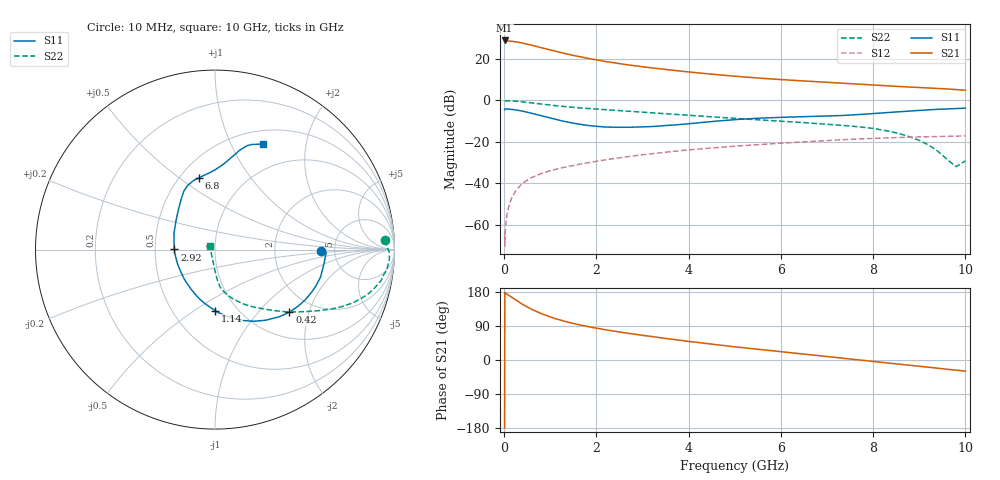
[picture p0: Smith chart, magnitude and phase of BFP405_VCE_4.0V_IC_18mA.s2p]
! Infineon Technologies  Discrete & RF Semiconductors
! BFP405
! VCE =  4.0 V,  IC =  18 mA
! Common Emitter S-Parameters:  Jan 2016
# GHz  S  MA  R  50
!  f  S11  S21  S12  S22
! GHz  MAG  ANG  MAG  ANG  MAG  ANG  MAG  ANG
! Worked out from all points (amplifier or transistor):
!   233 points, 10 MHz to 10 GHz, reference 50 ohm
!   highest |S21| = 28.9 dB at 10 MHz (marker M1)
!   |S21| within 3 dB of that: start of sweep to 721.8 MHz
!   unconditionally stable (mu >= 1): start of sweep to 30.3 MHz; 2.079 GHz to end of sweep
!   at 200 MHz: K = 0.27, MSG = 37.0 dB, |S12| = -45.7 dB
!   at 1.74 GHz: K = 0.92, MSG = 25.5 dB, |S12| = -30.5 dB
!   at 10 GHz: K = 1.34, MAG = 7.6 dB, |S12| = -17.2 dB
!   S11 on the Smith chart (normalised r, x): 10 MHz: 3.91, -0.06; 420 MHz: 1.53, -1.50; 1.14 GHz: 0.79, -0.61; 2.92 GHz: 0.63, +0.00; 6.8 GHz: 0.62, +0.60; 10 GHz: 0.66, +1.33
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0.01  0.593 -0.5  27.84 -178.9  0.0006 -30.4  0.9477 3.2
0.015  0.6063 -1.0  27.66 178.9  0.0003 29.9  0.9529 2.0
0.02  0.6197 -1.4  27.51 176.7  0.0006 90.3  0.9586 0.8
0.05  0.6159 -4.5  27.05 175.1  0.0014 79.6  0.9707 -0.7
0.1  0.6105 -9.6  26.98 170.6  0.0027 80.2  0.9731 -3.1
0.19  0.5993 -18.7  26.34 163.3  0.005 78.7  0.9622 -6.7
0.28  0.5791 -27.3  25.56 156.0  0.0071 76.9  0.9439 -9.8
0.42  0.5409 -39.9  23.84 145.4  0.0102 73.5  0.9095 -14.1
0.5  0.5172 -46.4  22.79 139.9  0.0118 71.6  0.8875 -16.2
0.58  0.4903 -52.6  21.62 134.8  0.0133 70.0  0.8654 -17.9
0.7  0.454 -61.6  20.01 127.9  0.0153 68.1  0.833 -20.4
0.9  0.3977 -75.0  17.53 117.8  0.0184 66.0  0.7835 -23.6
1.14  0.3404 -89.8  15.02 108.1  0.0219 64.2  0.7341 -26.6
1.4  0.2937 -105.1  12.84 99.3  0.0254 63.0  0.6893 -29.3
1.68  0.2591 -120.3  11.03 91.5  0.0292 62.1  0.6501 -31.7
2.2  0.2268 -148.0  8.636 79.7  0.0365 60.2  0.5921 -35.8
2.92  0.2264 179.8  6.612 66.5  0.0471 56.7  0.5258 -41.2
3.4  0.2403 161.8  5.708 58.6  0.0544 53.5  0.4835 -44.9
5.1  0.3471 122.0  3.736 33.5  0.0793 40.9  0.36 -59.7
6.8  0.4098 102.4  2.789 11.6  0.1038 27.6  0.2737 -72.6
8.4  0.5132 80.6  2.201 -8.9  0.1244 12.8  0.1735 -85.2
10  0.6447 65.7  1.75 -29.5  0.138 -0.5  0.0344 149.7
